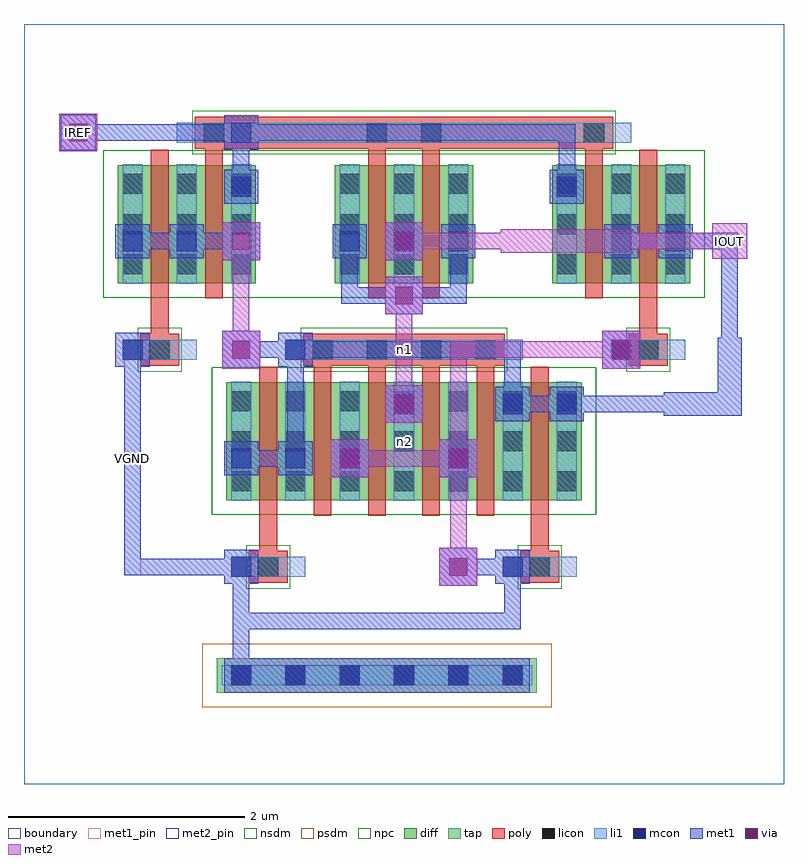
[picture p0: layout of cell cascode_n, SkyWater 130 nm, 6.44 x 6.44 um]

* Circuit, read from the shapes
.subckt cascode_n IOUT IREF VGND n1 n2
XM1 n1 VGND n1 VGND sky130_fd_pr__nfet_01v8 w=1 l=0.15 m=4
XM2 IREF IREF n1 VGND sky130_fd_pr__nfet_01v8 w=1 l=0.15 m=2
XM3 VGND n1 n1 VGND sky130_fd_pr__nfet_01v8 w=1 l=0.15 m=2
XM4 n2 n1 VGND VGND sky130_fd_pr__nfet_01v8 w=1 l=0.15 m=2
XM5 IOUT IREF n2 VGND sky130_fd_pr__nfet_01v8 w=1 l=0.15 m=2
.ends

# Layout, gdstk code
import gdstk
lib = gdstk.Library(unit=1e-6, precision=1e-09)
def R(c, l, rs):  # rectangles x0, y0, x1, y1
    for r in rs: c.add(gdstk.rectangle(r[:2], r[2:], *l))
def A(c, l, x, y, w, h, nx, ny, dx, dy):  # array of equal rectangles
    R(c, l, [(x+i*dx, y+j*dy, x+i*dx+w, y+j*dy+h) for i in range(nx) for j in range(ny)])
diff = (65, 20)
tap = (65, 44)
poly = (66, 20)
licon = (66, 44)
li1 = (67, 20)
mcon = (67, 44)
met1_pin = (68, 16)
met1 = (68, 20)
via = (68, 44)
met2_pin = (69, 16)
met2 = (69, 20)
nsdm = (93, 44)
psdm = (94, 20)
npc = (95, 20)
boundary = (235, 4)

cascode_n = lib.new_cell('cascode_n')
A(cascode_n, diff, 0.795, 4.245, 1.17, 1, 3, 1, 1.84, 0)
R(cascode_n, diff, [(1.715,2.405,4.725,3.405)])
R(cascode_n, tap, [(1.635,0.775,4.345,1.065)])
A(cascode_n, poly, 2.455, 2.275, 0.15, 1.405, 4, 1, 0.46, 0)
R(cascode_n, poly, [(1.905,1.705,2.235,1.975), (4.205,1.705,4.535,1.975), (1.995,1.84,2.145,3.535), (4.295,1.84,4.445,3.535), (0.985,3.545,1.315,3.815), (2.365,3.545,4.075,3.815), (5.125,3.545,5.455,3.815), (1.075,3.68,1.225,5.375), (5.215,3.68,5.365,5.375), (1.535,4.115,1.685,5.52), (2.915,4.115,3.065,5.52), (3.375,4.115,3.525,5.52), (4.755,4.115,4.905,5.52), (1.445,5.385,4.995,5.655)])
A(cascode_n, licon, 1.755, 0.835, 0.17, 0.17, 6, 1, 0.46, 0)
A(cascode_n, licon, 1.755, 2.48, 0.17, 0.17, 7, 3, 0.46, 0.34)
A(cascode_n, licon, 2.445, 3.595, 0.17, 0.17, 4, 1, 0.46, 0)
A(cascode_n, licon, 0.835, 4.32, 0.17, 0.17, 3, 3, 0.46, 0.34)
A(cascode_n, licon, 2.675, 4.32, 0.17, 0.17, 3, 3, 0.46, 0.34)
A(cascode_n, licon, 4.515, 4.32, 0.17, 0.17, 3, 3, 0.46, 0.34)
R(cascode_n, licon, [(1.985,1.755,2.155,1.925), (4.285,1.755,4.455,1.925), (1.065,3.595,1.235,3.765), (5.205,3.595,5.375,3.765), (1.525,5.435,1.695,5.605), (2.905,5.435,3.075,5.605), (3.365,5.435,3.535,5.605), (4.745,5.435,4.915,5.605)])
A(cascode_n, li1, 1.755, 2.4, 0.17, 1.01, 7, 1, 0.46, 0)
A(cascode_n, li1, 0.835, 4.24, 0.17, 1.01, 3, 1, 0.46, 0)
A(cascode_n, li1, 2.675, 4.24, 0.17, 1.01, 3, 1, 0.46, 0)
A(cascode_n, li1, 4.515, 4.24, 0.17, 1.01, 3, 1, 0.46, 0)
R(cascode_n, li1, [(1.675,0.835,4.305,1.005), (1.755,1.755,2.385,1.925), (4.055,1.755,4.685,1.925), (0.835,3.595,1.465,3.765), (2.215,3.595,4.225,3.765), (4.975,3.595,5.605,3.765), (1.295,5.435,5.145,5.605)])
A(cascode_n, mcon, 1.755, 0.835, 0.17, 0.17, 6, 1, 0.46, 0)
A(cascode_n, mcon, 1.755, 2.675, 0.17, 0.17, 3, 1, 0.46, 0)
A(cascode_n, mcon, 2.675, 4.515, 0.17, 0.17, 3, 1, 0.46, 0)
R(cascode_n, mcon, [(1.755,1.755,1.925,1.925), (4.055,1.755,4.225,1.925), (3.595,2.675,3.765,2.845), (3.135,3.135,3.305,3.305), (4.055,3.135,4.225,3.305), (4.515,3.135,4.685,3.305), (0.835,3.595,1.005,3.765), (2.215,3.595,2.385,3.765), (4.975,3.595,5.145,3.765), (0.835,4.515,1.005,4.685), (1.295,4.515,1.465,4.685), (4.975,4.515,5.145,4.685), (5.435,4.515,5.605,4.685), (1.755,4.975,1.925,5.145), (4.515,4.975,4.685,5.145), (1.755,5.435,1.925,5.605)])
R(cascode_n, met1_pin, [(0.85,1.77,0.99,3.75)])
A(cascode_n, met1, 1.695, 2.615, 0.29, 0.29, 3, 1, 0.46, 0)
A(cascode_n, met1, 2.615, 4.455, 0.29, 0.29, 3, 1, 0.46, 0)
R(cascode_n, met1, [(1.695,0.775,4.285,1.065), (1.77,0.85,1.91,0.99), (1.77,0.85,1.91,1.91), (1.77,1.31,4.21,1.45), (4.07,1.31,4.21,1.91), (3.52,1.68,3.84,2), (1.695,1.695,1.985,1.985), (3.995,1.695,4.285,1.985), (0.85,1.77,1.91,1.91), (0.85,1.77,0.99,3.75), (3.61,1.77,4.21,1.91), (2.6,2.6,2.92,2.92), (3.52,2.6,3.84,2.92), (3.535,2.615,3.825,2.905), (1.77,2.69,2.37,2.83), (2.23,2.69,2.37,3.75), (3.06,3.06,3.38,3.38), (3.075,3.075,3.365,3.365), (3.995,3.075,4.285,3.365), (4.455,3.075,4.745,3.365), (5.42,3.12,6.08,3.32), (5.88,3.12,6.08,3.78), (4.07,3.15,4.21,3.75), (4.07,3.15,4.67,3.29), (4.53,3.15,5.59,3.29), (1.68,3.52,2,3.84), (4.9,3.52,5.22,3.84), (0.775,3.535,1.065,3.825), (2.155,3.535,2.445,3.825), (4.915,3.535,5.205,3.825), (1.77,3.61,2.37,3.75), (2.23,3.61,4.21,3.75), (5.91,3.61,6.05,4.67), (3.06,3.98,3.38,4.3), (2.69,4.07,2.83,4.67), (2.69,4.07,3.29,4.21), (3.15,4.07,3.75,4.21), (3.61,4.07,3.75,4.67), (1.68,4.44,2,4.76), (3.06,4.44,3.38,4.76), (0.775,4.455,1.065,4.745), (1.235,4.455,1.525,4.745), (4.915,4.455,5.205,4.745), (5.375,4.455,5.665,4.745), (0.85,4.53,1.45,4.67), (1.31,4.53,1.91,4.67), (4.99,4.53,5.59,4.67), (5.45,4.53,6.05,4.67), (1.695,4.915,1.985,5.205), (4.455,4.915,4.745,5.205), (1.77,4.99,1.91,5.59), (4.53,4.99,4.67,5.59), (0.3,5.36,0.62,5.68), (1.695,5.375,1.985,5.665), (0.39,5.45,1.91,5.59), (1.77,5.45,4.67,5.59)])
R(cascode_n, via, [(3.605,1.765,3.755,1.915), (2.685,2.685,2.835,2.835), (3.605,2.685,3.755,2.835), (3.145,3.145,3.295,3.295), (1.765,3.605,1.915,3.755), (4.985,3.605,5.135,3.755), (3.145,4.065,3.295,4.215), (1.765,4.525,1.915,4.675), (3.145,4.525,3.295,4.675), (0.385,5.445,0.535,5.595)])
R(cascode_n, met2_pin, [(5.83,4.45,6.13,4.75), (0.31,5.37,0.61,5.67)])
R(cascode_n, met2, [(3.52,1.68,3.84,2), (3.61,1.77,3.75,2.83), (2.6,2.6,2.92,2.92), (3.52,2.6,3.84,2.92), (2.69,2.69,3.75,2.83), (3.61,2.69,3.75,3.75), (3.06,3.06,3.38,3.38), (3.15,3.15,3.29,4.21), (1.68,3.52,2,3.84), (4.9,3.52,5.22,3.84), (1.77,3.61,1.91,4.67), (3.61,3.61,5.13,3.75), (3.06,3.98,3.38,4.3), (1.68,4.44,2,4.76), (3.06,4.44,3.38,4.76), (5.83,4.45,6.13,4.75), (4.04,4.5,5.16,4.7), (3.15,4.53,4.21,4.67), (4.99,4.53,6.05,4.67), (5.91,4.53,6.05,4.67), (0.3,5.36,0.62,5.68), (0.31,5.37,0.61,5.67), (0.39,5.45,0.53,5.59)])
R(cascode_n, nsdm, [(1.59,2.28,4.85,3.53), (0.67,4.12,5.77,5.37)])
R(cascode_n, psdm, [(1.51,0.65,4.47,1.19)])
R(cascode_n, npc, [(1.885,1.655,2.255,2.025), (4.185,1.655,4.555,2.025), (0.965,3.495,1.335,3.865), (2.345,3.495,4.095,3.865), (5.105,3.495,5.475,3.865), (1.425,5.335,5.015,5.705)])
R(cascode_n, boundary, [(0,0,6.44,6.44)])
cascode_n.add(gdstk.Label('n1', (3.22,3.68), layer=67, texttype=5))
cascode_n.add(gdstk.Label('n2', (3.22,2.905), layer=67, texttype=5))
cascode_n.add(gdstk.Label('VGND', (0.92,2.76), layer=68, texttype=5))
cascode_n.add(gdstk.Label('IREF', (0.46,5.52), layer=69, texttype=5))
cascode_n.add(gdstk.Label('IOUT', (5.98,4.6), layer=69, texttype=5))
cascode_n.add(gdstk.Label('VGND', (0.92,2.76), layer=68, texttype=16))
cascode_n.add(gdstk.Label('IREF', (0.46,5.52), layer=69, texttype=16))
cascode_n.add(gdstk.Label('IOUT', (5.98,4.6), layer=69, texttype=16))

lib.write_gds('cascode_n.gds')
